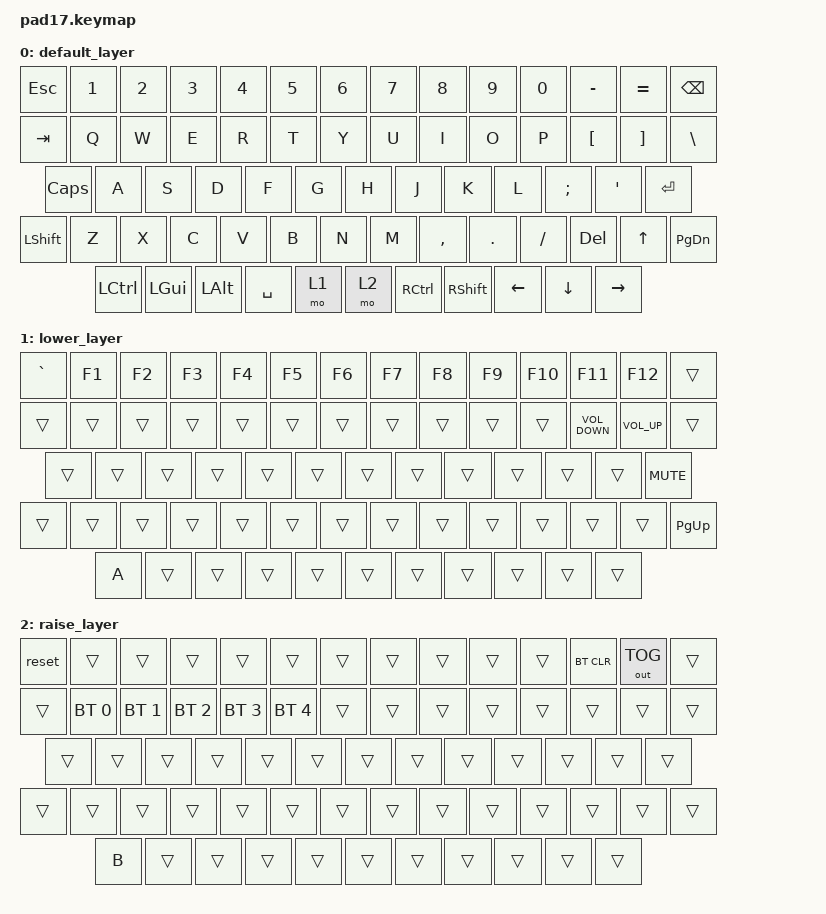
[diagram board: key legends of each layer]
/*
 * Copyright (c) 2020 The ZMK Contributors
 *
 * SPDX-License-Identifier: MIT
 */

#include <behaviors.dtsi>
#include <dt-bindings/zmk/keys.h>
#include <dt-bindings/zmk/bt.h>
#include <dt-bindings/zmk/outputs.h>
/ {
	keymap {
		compatible = "zmk,keymap";

		default_layer {
			bindings = <
	&kp ESC &kp N1 &kp N2 &kp N3 &kp N4 &kp N5 &kp N6 &kp N7 &kp N8  &kp N9 &kp N0  &kp MINUS &kp EQUAL &kp BSPC
	&kp TAB  &kp Q  &kp W  &kp E  &kp R  &kp T  &kp Y  &kp U  &kp I   &kp O  &kp P  &kp LBKT &kp RBKT  &kp BSLH
	&kp CLCK  &kp A  &kp S  &kp D  &kp F  &kp G  &kp H  &kp J &kp K &kp L  &kp SEMI &kp SQT           &kp RET
	&kp LSHFT  &kp Z  &kp X  &kp C  &kp V  &kp B  &kp N  &kp M  &kp COMMA &kp DOT &kp FSLH     &kp DELETE &kp UP_ARROW &kp PAGE_DOWN
	&kp LCTRL &kp LGUI &kp LALT          &kp SPACE &mo 1 &mo 2               &kp  RCTRL &kp RSHFT &kp LEFT_ARROW &kp DOWN_ARROW &kp RIGHT_ARROW
			>;
		};

		lower_layer {
			bindings = <
	&kp GRAVE  &kp F1     &kp F2     &kp F3     &kp F4     &kp F5     &kp F6     &kp F7     &kp F8     &kp F9     &kp F10    &kp F11    &kp F12    &trans
	&trans         &trans &trans      &trans     &trans     &trans     &trans     &trans     &trans     &trans    &trans   &kp C_VOLUME_DOWN  &kp C_VOLUME_UP   &trans
	&trans           &trans    &trans    &trans   &trans     &trans    &trans   &trans   &trans   &trans   &trans      &trans      &kp C_MUTE
	&trans                &trans      &trans      &trans      &trans    &trans     &trans     &trans      &trans      &trans      &trans      &trans &trans &kp PAGE_UP
	&kp A       &trans       &trans       &trans &trans &trans                            &trans     &trans     &trans    &trans &trans
			>;
		};
		
		raise_layer {
			bindings = <
	&reset  &trans    &trans     &trans    &trans     &trans     &trans     &trans     &trans     &trans    &trans   &bt BT_CLR &out OUT_TOG    &trans
	&trans       &bt BT_SEL 0 &bt BT_SEL 1 &bt BT_SEL 2 &bt BT_SEL 3 &bt BT_SEL 4     &trans     &trans     &trans     &trans     &trans     &trans      &trans      &trans
	&trans          &trans    &trans        &trans     &trans     &trans  &trans   &trans   &trans   &trans   &trans      &trans      &trans
	&trans                &trans      &trans      &trans      &trans    &trans     &trans     &trans      &trans      &trans      &trans      &trans &trans &trans
	&kp B       &trans       &trans       &trans &trans &trans                            &trans     &trans     &trans    &trans &trans
			>;
		};
	};
};
